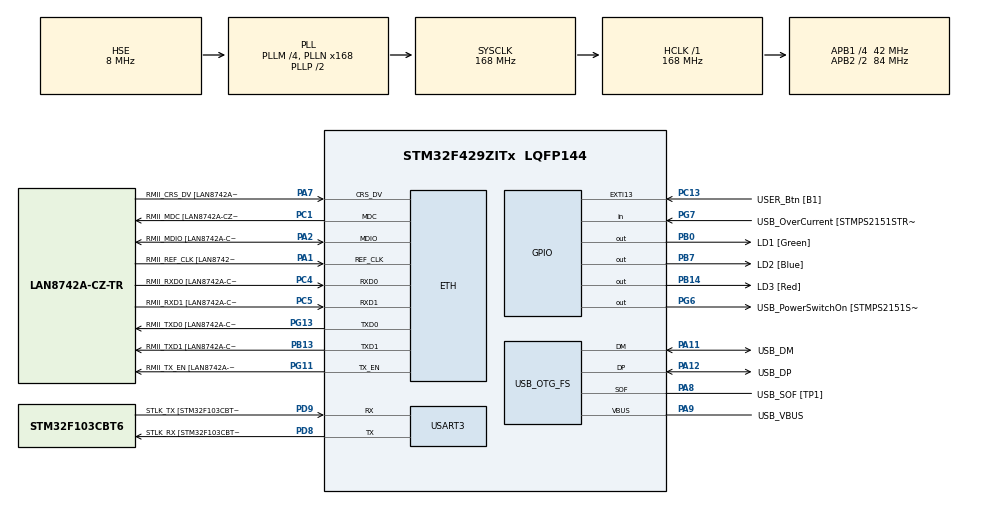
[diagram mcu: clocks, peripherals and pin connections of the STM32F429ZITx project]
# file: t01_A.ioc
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ETH.MediaInterface=HAL_ETH_RMII_MODE
ETH.PHY_Name=LAN8742A_PHY_ADDRESS
ETH.PHY_Value=0
ETH.PhyAddress=0
Mcu.Family=STM32F4
Mcu.Name=STM32F429ZITx
Mcu.Package=LQFP144
NVIC.PriorityGroup=NVIC_PRIORITYGROUP_4
PA1.GPIO_Label=RMII_REF_CLK [LAN8742A-CZ-TR_REFCLK0]
PA1.Mode=RMII
PA1.Signal=ETH_REF_CLK
PA10.GPIO_Label=USB_ID
PA10.Signal=USB_OTG_FS_ID
PA11.GPIO_Label=USB_DM
PA11.Mode=Device_Only
PA11.Signal=USB_OTG_FS_DM
PA12.GPIO_Label=USB_DP
PA12.Mode=Device_Only
PA12.Signal=USB_OTG_FS_DP
PA13.GPIO_Label=TMS
PA13.Mode=Serial_Wire
PA13.Signal=SYS_JTMS-SWDIO
PA14.GPIO_Label=TCK
PA14.Mode=Serial_Wire
PA14.Signal=SYS_JTCK-SWCLK
PA2.GPIO_Label=RMII_MDIO [LAN8742A-CZ-TR_MDIO]
PA2.Mode=RMII
PA2.Signal=ETH_MDIO
PA7.GPIO_Label=RMII_CRS_DV [LAN8742A-CZ-TR_CRS_DV]
PA7.Mode=RMII
PA7.Signal=ETH_CRS_DV
PA8.GPIO_Label=USB_SOF [TP1]
PA8.Mode=Activate_SOF_FS
PA8.Signal=USB_OTG_FS_SOF
PA9.GPIO_Label=USB_VBUS
PA9.Mode=Activate_VBUS
PA9.Signal=USB_OTG_FS_VBUS
PB0.GPIO_Label=LD1 [Green]
PB0.Signal=GPIO_Output
PB13.GPIO_Label=RMII_TXD1 [LAN8742A-CZ-TR_TXD1]
PB13.Mode=RMII
PB13.Signal=ETH_TXD1
PB14.GPIO_Label=LD3 [Red]
PB14.Signal=GPIO_Output
PB7.GPIO_Label=LD2 [Blue]
PB7.Signal=GPIO_Output
PC1.GPIO_Label=RMII_MDC [LAN8742A-CZ-TR_MDC]
PC1.Mode=RMII
PC1.Signal=ETH_MDC
PC13.GPIO_Label=USER_Btn [B1]
PC13.Signal=GPXTI13
PC14/OSC32_IN.Mode=LSE-External-Oscillator
PC14/OSC32_IN.Signal=RCC_OSC32_IN
PC15/OSC32_OUT.Mode=LSE-External-Oscillator
PC15/OSC32_OUT.Signal=RCC_OSC32_OUT
PC4.GPIO_Label=RMII_RXD0 [LAN8742A-CZ-TR_RXD0]
PC4.Mode=RMII
PC4.Signal=ETH_RXD0
PC5.GPIO_Label=RMII_RXD1 [LAN8742A-CZ-TR_RXD1]
PC5.Mode=RMII
PC5.Signal=ETH_RXD1
PD8.GPIO_Label=STLK_RX [STM32F103CBT6_PA3]
PD8.Mode=Asynchronous
PD8.Signal=USART3_TX
PD9.GPIO_Label=STLK_TX [STM32F103CBT6_PA2]
PD9.Mode=Asynchronous
PD9.Signal=USART3_RX
PG11.GPIO_Label=RMII_TX_EN [LAN8742A-CZ-TR_TXEN]
PG11.Mode=RMII
PG11.Signal=ETH_TX_EN
PG13.GPIO_Label=RMII_TXD0 [LAN8742A-CZ-TR_TXD0]
PG13.Mode=RMII
PG13.Signal=ETH_TXD0
PG6.GPIO_Label=USB_PowerSwitchOn [STMPS2151STR_EN]
PG6.Signal=GPIO_Output
PG7.GPIO_Label=USB_OverCurrent [STMPS2151STR_FAULT]
PG7.Signal=GPIO_Input
PH0/OSC_IN.GPIO_Label=MCO [STM32F103CBT6_PA8]
PH0/OSC_IN.Mode=HSE-External-Clock-Source
PH0/OSC_IN.Signal=RCC_OSC_IN
PH1/OSC_OUT.Mode=HSE-External-Clock-Source
PH1/OSC_OUT.Signal=RCC_OSC_OUT
ProjectManager.HeapSize=0x200
ProjectManager.StackSize=0x400
ProjectManager.TargetToolchain=STM32CubeIDE
RCC.48MHZClocksFreq_Value=48000000
RCC.AHBFreq_Value=168000000
RCC.APB1CLKDivider=RCC_HCLK_DIV4
RCC.APB1Freq_Value=42000000
RCC.APB1TimFreq_Value=84000000
RCC.APB2CLKDivider=RCC_HCLK_DIV2
RCC.APB2Freq_Value=84000000
RCC.APB2TimCLKDivider=2
RCC.APB2TimFreq_Value=168000000
RCC.CortexFreq_Value=168000000
RCC.HCLKFreq_Value=168000000
RCC.HSE_VALUE=8000000
RCC.HSI_VALUE=16000000
RCC.PLLM=4
RCC.PLLMUL=RCC_PLL_MUL9
RCC.PLLN=168
RCC.PLLQ=7
RCC.PRESCALERUSB=RCC_USBCLKSOURCE_PLL_DIV1_5
RCC.SYSCLKFreq_VALUE=168000000
RCC.SYSCLKSource=RCC_SYSCLKSOURCE_PLLCLK
RCC.SYSCLKSourceVirtual=RCC_SYSCLKSOURCE_PLLCLK
RCC.USBFreq_Value=48000000
RCC.VCOOutputFreq_Value=336000000
USART3.VirtualMode=VM_ASYNC
USB_OTG_FS.VirtualMode=Device_Only
board=NUCLEO-F429ZI

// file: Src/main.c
/* USER CODE BEGIN Header */
/**
  ******************************************************************************
  * @file           : main.c
  * @brief          : Main program body
  ******************************************************************************
  * @attention
  *
  * Copyright (c) 2023 STMicroelectronics.
  * All rights reserved.
  *
  * This software is licensed under terms that can be found in the LICENSE file
  * in the root directory of this software component.
  * If no LICENSE file comes with this software, it is provided AS-IS.
  *
  ******************************************************************************
  */
/* USER CODE END Header */
#include "main.h"
#include "eth.h"
#include "usart.h"
#include "usb_otg.h"
#include "gpio.h"

/* USER CODE BEGIN Includes */
#include "os_Kernel.h"
/* USER CODE END Includes */

/* USER CODE BEGIN PV */
osTaskObj task1;
osTaskObj task2;
osTaskObj task3;
/* USER CODE END PV */

void SystemClock_Config(void);
/* USER CODE BEGIN PFP */

void tarea_1(void);
void tarea_2(void);
void tarea_3(void);
/* USER CODE END PFP */

int main(void)
{

  /* MCU Configuration--------------------------------------------------------*/

  /* Reset of all peripherals, Initializes the Flash interface and the Systick. */
  HAL_Init();

  /* Configure the system clock */
  SystemClock_Config();

  /* Initialize all configured peripherals */
  MX_GPIO_Init();
  MX_ETH_Init();
  MX_USART3_UART_Init();
  MX_USB_OTG_FS_PCD_Init();
  /* USER CODE BEGIN 2 */
  osInit();

  /* USER CODE END 2 */

  /* Infinite loop */
  while (1)
  {

    /* USER CODE BEGIN 3 */
	  osTaskCreate(&task1, tarea_1, NULL);
	  osTaskCreate(&task2, tarea_2, NULL);
	  osTaskCreate(&task3, tarea_3, NULL);
  }
  /* USER CODE END 3 */
}

void SystemClock_Config(void)
{
  RCC_OscInitTypeDef RCC_OscInitStruct = {0};
  RCC_ClkInitTypeDef RCC_ClkInitStruct = {0};

  /** Configure the main internal regulator output voltage
  */
  __HAL_RCC_PWR_CLK_ENABLE();
  __HAL_PWR_VOLTAGESCALING_CONFIG(PWR_REGULATOR_VOLTAGE_SCALE1);

  /** Initializes the RCC Oscillators according to the specified parameters
  * in the RCC_OscInitTypeDef structure.
  */
  RCC_OscInitStruct.OscillatorType = RCC_OSCILLATORTYPE_HSE;
  RCC_OscInitStruct.HSEState = RCC_HSE_BYPASS;
  RCC_OscInitStruct.PLL.PLLState = RCC_PLL_ON;
  RCC_OscInitStruct.PLL.PLLSource = RCC_PLLSOURCE_HSE;
  RCC_OscInitStruct.PLL.PLLM = 4;
  RCC_OscInitStruct.PLL.PLLN = 168;
  RCC_OscInitStruct.PLL.PLLP = RCC_PLLP_DIV2;
  RCC_OscInitStruct.PLL.PLLQ = 7;
  if (HAL_RCC_OscConfig(&RCC_OscInitStruct) != HAL_OK)
  {
    Error_Handler();
  }

  /** Initializes the CPU, AHB and APB buses clocks
  */
  RCC_ClkInitStruct.ClockType = RCC_CLOCKTYPE_HCLK|RCC_CLOCKTYPE_SYSCLK
                              |RCC_CLOCKTYPE_PCLK1|RCC_CLOCKTYPE_PCLK2;
  RCC_ClkInitStruct.SYSCLKSource = RCC_SYSCLKSOURCE_PLLCLK;
  RCC_ClkInitStruct.AHBCLKDivider = RCC_SYSCLK_DIV1;
  RCC_ClkInitStruct.APB1CLKDivider = RCC_HCLK_DIV4;
  RCC_ClkInitStruct.APB2CLKDivider = RCC_HCLK_DIV2;

  if (HAL_RCC_ClockConfig(&RCC_ClkInitStruct, FLASH_LATENCY_5) != HAL_OK)
  {
    Error_Handler();
  }
}

/* USER CODE BEGIN 4 */
void tarea_1(void)
{
	uint16_t counter=0;
	while(1)
	{
		counter=+3;
	}
}

void tarea_2(void)
{
	uint16_t counter=0;
	while(1)
	{
		counter=+1;
	}
}

void tarea_3(void)
{
	uint16_t counter=0;
	while(1)
	{
		counter=+100;
	}
}

/* USER CODE END 4 */

void Error_Handler(void)
{
  __disable_irq();
  while (1)
  {
  }
}
